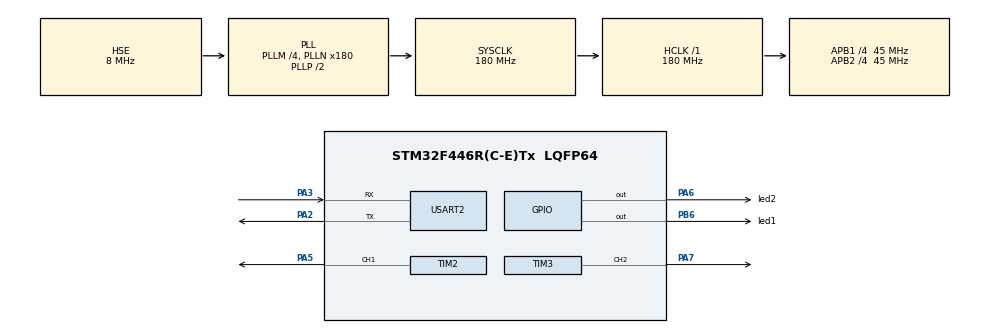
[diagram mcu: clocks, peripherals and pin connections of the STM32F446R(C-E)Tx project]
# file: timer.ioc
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Dma.Request0=USART2_RX
Dma.USART2_RX.0.Direction=DMA_PERIPH_TO_MEMORY
Dma.USART2_RX.0.FIFOMode=DMA_FIFOMODE_DISABLE
Dma.USART2_RX.0.Instance=DMA1_Stream5
Dma.USART2_RX.0.MemDataAlignment=DMA_MDATAALIGN_BYTE
Dma.USART2_RX.0.MemInc=DMA_MINC_ENABLE
Dma.USART2_RX.0.Mode=DMA_CIRCULAR
Dma.USART2_RX.0.PeriphDataAlignment=DMA_PDATAALIGN_BYTE
Dma.USART2_RX.0.PeriphInc=DMA_PINC_DISABLE
Dma.USART2_RX.0.Priority=DMA_PRIORITY_LOW
Mcu.Family=STM32F4
Mcu.Name=STM32F446R(C-E)Tx
Mcu.Package=LQFP64
NVIC.DMA1_Stream5_IRQn=true\:0\:0\:false\:true\:true\:1\:false\:true\:true
NVIC.PriorityGroup=NVIC_PRIORITYGROUP_4
NVIC.TIM1_TRG_COM_TIM11_IRQn=true\:0\:0\:false\:false\:true\:true\:true\:true
NVIC.TIM2_IRQn=true\:0\:0\:false\:true\:true\:3\:true\:true\:true
NVIC.TIM3_IRQn=true\:0\:0\:false\:true\:true\:4\:true\:true\:true
NVIC.TIM7_IRQn=true\:0\:0\:false\:true\:true\:6\:true\:true\:true
NVIC.TIM8_BRK_TIM12_IRQn=true\:0\:0\:false\:true\:true\:5\:true\:true\:true
PA13.Mode=Serial_Wire
PA13.Signal=SYS_JTMS-SWDIO
PA14.Mode=Serial_Wire
PA14.Signal=SYS_JTCK-SWCLK
PA2.Mode=Asynchronous
PA2.Signal=USART2_TX
PA3.Mode=Asynchronous
PA3.Signal=USART2_RX
PA5.Signal=S_TIM2_CH1_ETR
PA6.GPIO_Label=led2
PA6.GPIO_ModeDefaultOutputPP=GPIO_MODE_OUTPUT_PP
PA6.GPIO_PuPd=GPIO_NOPULL
PA6.GPIO_Speed=GPIO_SPEED_FREQ_HIGH
PA6.PinState=GPIO_PIN_SET
PA6.Signal=GPIO_Output
PA7.Signal=S_TIM3_CH2
PB6.GPIO_Label=led1
PB6.GPIO_ModeDefaultOutputPP=GPIO_MODE_OUTPUT_PP
PB6.GPIO_PuPd=GPIO_NOPULL
PB6.GPIO_Speed=GPIO_SPEED_FREQ_HIGH
PB6.PinState=GPIO_PIN_SET
PB6.Signal=GPIO_Output
PH0-OSC_IN.Mode=HSE-External-Oscillator
PH0-OSC_IN.Signal=RCC_OSC_IN
PH1-OSC_OUT.Mode=HSE-External-Oscillator
PH1-OSC_OUT.Signal=RCC_OSC_OUT
ProjectManager.HeapSize=0x200
ProjectManager.StackSize=0x400
ProjectManager.TargetToolchain=STM32CubeIDE
RCC.AHBFreq_Value=180000000
RCC.APB1CLKDivider=RCC_HCLK_DIV4
RCC.APB1Freq_Value=45000000
RCC.APB1TimFreq_Value=90000000
RCC.APB2CLKDivider=RCC_HCLK_DIV4
RCC.APB2Freq_Value=45000000
RCC.APB2TimFreq_Value=90000000
RCC.CortexFreq_Value=180000000
RCC.HCLKFreq_Value=180000000
RCC.HSE_VALUE=8000000
RCC.PLLM=4
RCC.PLLN=180
RCC.PLLSourceVirtual=RCC_PLLSOURCE_HSE
RCC.SYSCLKFreq_VALUE=180000000
RCC.SYSCLKSource=RCC_SYSCLKSOURCE_PLLCLK
RCC.USBFreq_Value=180000000
RCC.VCOOutputFreq_Value=360000000
SH.S_TIM2_CH1_ETR.0=TIM2_CH1,Output Compare1 CH1
SH.S_TIM3_CH2.0=TIM3_CH2,Output Compare2 CH2
TIM11.Period=7000-1
TIM11.Prescaler=9000-1
TIM12.Period=15000-1
TIM12.Prescaler=9000-1
TIM2.Channel-Output\ Compare1\ CH1=TIM_CHANNEL_1
TIM2.OC1Preload=DISABLE
TIM2.OCMode_1=TIM_OCMODE_TOGGLE
TIM2.Period=1000-1
TIM2.Prescaler=9000-1
TIM3.Channel-Output\ Compare2\ CH2=TIM_CHANNEL_2
TIM3.OCMode_2=TIM_OCMODE_FORCED_INACTIVE
TIM3.Period=5000-1
TIM3.Prescaler=9000-1
TIM7.Period=10000-1
TIM7.Prescaler=9000-1
USART2.VirtualMode=VM_ASYNC
VP_TIM11_VS_ClockSourceINT.Mode=Enable_Timer
VP_TIM12_VS_ClockSourceINT.Mode=Internal
VP_TIM2_VS_ClockSourceINT.Mode=Internal
VP_TIM3_VS_ClockSourceINT.Mode=Internal
VP_TIM7_VS_ClockSourceINT.Mode=Enable_Timer
board=custom

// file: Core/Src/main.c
/* USER CODE BEGIN Header */
/**
  ******************************************************************************
  * @file           : main.c
  * @brief          : Main program body
  ******************************************************************************
  * @attention
  *
  * Copyright (c) 2025 STMicroelectronics.
  * All rights reserved.
  *
  * This software is licensed under terms that can be found in the LICENSE file
  * in the root directory of this software component.
  * If no LICENSE file comes with this software, it is provided AS-IS.
  *
  ******************************************************************************
  */
/* USER CODE END Header */
#include "main.h"
#include "dma.h"
#include "tim.h"
#include "usart.h"
#include "gpio.h"

/* USER CODE BEGIN Includes */
// My Lib
#define F446RE 1
#include <My_ARM_GPIO_Lib_V3_8.h>

volatile uint8_t rxd_flag1 = 0;
volatile uint8_t rxd_flag2 = 0;
volatile uint8_t rx_buf1[20];
volatile uint8_t rx_buf2[20];

#define My_Uart_LIB_EN   1
#define NO_RTOS          2
//#define RTOS           2
#define Console_Ch2      3
#define USART_Ch_2_EN    4
//#define USART_Ch_1_EN    4
#define IRQ_EN_Uart_1    5
#include "My_ARM_UART_Lib_V4_8.h"

uint8_t ad_end_flag1 = 0;
uint16_t test_loop1 = 0;
uint16_t ad_buf1[20];
uint8_t ad_ch_nb1 = 6;

#define ARM_Mode  1
#define UART      2
extern int out_dev_set_mode;
#include "My_MCU_Printf_Lib_V2_6.h"

/* USER CODE END Includes */

/* USER CODE BEGIN PTD */
struct _CNT_
{
  uint16_t cnt;
  uint16_t t_loop;
  uint16_t cnt_loop;
  uint8_t  cnt_flag;
  uint8_t  sec;
  uint8_t  min;
  uint16_t dn_cnt;
}cnt = {1234, 0, 0, 0, 15, 25, 1250};
struct _CNT_ *ct = &cnt;

struct _cnt_bit_
{
  uint8_t  time_flag: 1;
  uint8_t  run_flag : 3;
  uint16_t tx_flag  : 4;
  uint8_t  tg_flag  : 2;
  uint8_t  t2_flag  : 1;
  uint8_t  t3_flag  : 1;
  uint8_t  t11_flag : 1;
  uint8_t  t12_flag : 1;
}flag = {0, 2, 10, 2, 0,0,0,0};
struct _cnt_bit_ *fg = &flag;

char d_buf[50];
uint16_t ad_buf[20];

/* USER CODE END PTD */

void SystemClock_Config(void);
static void MX_NVIC_Init(void);

/* USER CODE BEGIN 0 */
// 콜백함수
//timer CallBack Func
void HAL_TIM_PeriodElapsedCallback(TIM_HandleTypeDef *htim)
{
  if(htim -> Instance == TIM7)
  {
	// 1sec
    fg -> time_flag = (fg -> time_flag == 0) ? 1 : 0;
  }
 //--------------------------------------------------
  if(htim -> Instance == TIM3)
     {
     	// 500ms = OC
     	fg -> t3_flag = (fg -> t3_flag == 0) ? 1 : 0;
     }
  //---------------------------------------

  if(htim -> Instance == TIM11)
  {
	// 700ms
	Out_Bit_Tg(led1_GPIO_Port, led1_Pin);
	fg -> t11_flag = (fg -> t11_flag == 0) ? 1 : 0;
  }
 //-----------------------------------------------------

  if(htim -> Instance == TIM12)
   {
  	// 1.5sec
  	Out_Bit_Tg(led2_GPIO_Port, led2_Pin);
   	//fg -> t12_flag = (fg -> t12_flag == 0) ? 1 : 0;
  	fg -> t12_flag = !fg -> t12_flag;
   }
   //-----------------------------------------------------

  if(htim -> Instance == TIM2)
   {
 	// 100ms = OC
 	fg -> t2_flag = (fg -> t2_flag == 0) ? 1 : 0;
   }
}
/* USER CODE END 0 */

int main(void)
{

  /* MCU Configuration--------------------------------------------------------*/

  /* Reset of all peripherals, Initializes the Flash interface and the Systick. */
  HAL_Init();

  /* Configure the system clock */
  SystemClock_Config();

  /* Initialize all configured peripherals */
  MX_GPIO_Init();
  MX_DMA_Init();
  MX_TIM2_Init();
  MX_TIM3_Init();
  MX_TIM7_Init();
  MX_TIM12_Init();
  MX_USART2_UART_Init();
  MX_TIM11_Init();

  /* Initialize interrupts */
  MX_NVIC_Init();
  /* USER CODE BEGIN 2 */
  HAL_TIM_Base_Start_IT(&htim7); // 1sec
  // 폴링방식으로 해도 됨
  HAL_TIM_OC_Start_IT(&htim2, TIM_CHANNEL_1); // 100ms
  HAL_TIM_OC_Start_IT(&htim3, TIM_CHANNEL_2); // 500ms
  HAL_TIM_Base_Start_IT(&htim11);  // 700ms
  HAL_TIM_Base_Start_IT(&htim12);  // 1.5sec
 // HAL_TIM_Base_Start_IT(&htim1);  // 1.5sec

  /* USER CODE END 2 */

  /* Infinite loop */
  /* USER CODE BEGIN WHILE */
  while (1)
  {
//	if(fg -> t2_flag ==1)
//	{
//	  printf("time2 IRQ\r\n");
//	  //tx_str("time2 IRQ\r\n", 2);
//	  fg -> t2_flag =0;
//	}
//
//	if(fg -> t3_flag ==1)
//	{
//	  printf("time3 IRQ\r\n");
//	  //tx_str("time3 IRQ\r\n", 2);
//	  fg -> t3_flag = 0;
//	}

	if(fg -> t11_flag ==1)
	{
	  printf("time11 IRQ\r\n");
	  fg -> t11_flag =0;
	}

	if(fg -> t12_flag ==1)
	{
	  printf("time12 IRQ\r\n");
	  fg -> t12_flag  =0;
	}

	if(fg -> time_flag) // 1sec chk sum
	{
	  fg -> time_flag = 0;

	  ct -> sec++;
	  if(ct -> sec > 59) // 1min chk sum
	  {
		(*ct).sec = 0;
		cnt.min++;
		if(ct -> min > 59) // 1 hour chk sum
		{
		  (*ct).min = 0;
		  // hour++
		}
	  }

	 printf("Now Time = %d : %d\r\n", ct -> min, ct -> sec);
	}
    /* USER CODE END WHILE */

  }
}

void SystemClock_Config(void)
{
  RCC_OscInitTypeDef RCC_OscInitStruct = {0};
  RCC_ClkInitTypeDef RCC_ClkInitStruct = {0};

  /** Configure the main internal regulator output voltage
  */
  __HAL_RCC_PWR_CLK_ENABLE();
  __HAL_PWR_VOLTAGESCALING_CONFIG(PWR_REGULATOR_VOLTAGE_SCALE1);

  /** Initializes the RCC Oscillators according to the specified parameters
  * in the RCC_OscInitTypeDef structure.
  */
  RCC_OscInitStruct.OscillatorType = RCC_OSCILLATORTYPE_HSE;
  RCC_OscInitStruct.HSEState = RCC_HSE_ON;
  RCC_OscInitStruct.PLL.PLLState = RCC_PLL_ON;
  RCC_OscInitStruct.PLL.PLLSource = RCC_PLLSOURCE_HSE;
  RCC_OscInitStruct.PLL.PLLM = 4;
  RCC_OscInitStruct.PLL.PLLN = 180;
  RCC_OscInitStruct.PLL.PLLP = RCC_PLLP_DIV2;
  RCC_OscInitStruct.PLL.PLLQ = 2;
  RCC_OscInitStruct.PLL.PLLR = 2;
  if (HAL_RCC_OscConfig(&RCC_OscInitStruct) != HAL_OK)
  {
    Error_Handler();
  }

  /** Activate the Over-Drive mode
  */
  if (HAL_PWREx_EnableOverDrive() != HAL_OK)
  {
    Error_Handler();
  }

  /** Initializes the CPU, AHB and APB buses clocks
  */
  RCC_ClkInitStruct.ClockType = RCC_CLOCKTYPE_HCLK|RCC_CLOCKTYPE_SYSCLK
                              |RCC_CLOCKTYPE_PCLK1|RCC_CLOCKTYPE_PCLK2;
  RCC_ClkInitStruct.SYSCLKSource = RCC_SYSCLKSOURCE_PLLCLK;
  RCC_ClkInitStruct.AHBCLKDivider = RCC_SYSCLK_DIV1;
  RCC_ClkInitStruct.APB1CLKDivider = RCC_HCLK_DIV4;
  RCC_ClkInitStruct.APB2CLKDivider = RCC_HCLK_DIV4;

  if (HAL_RCC_ClockConfig(&RCC_ClkInitStruct, FLASH_LATENCY_5) != HAL_OK)
  {
    Error_Handler();
  }
}

/**
  * @brief NVIC Configuration.
  * @retval None
  */
static void MX_NVIC_Init(void)
{
  /* DMA1_Stream5_IRQn interrupt configuration */
  HAL_NVIC_SetPriority(DMA1_Stream5_IRQn, 0, 0);
  HAL_NVIC_EnableIRQ(DMA1_Stream5_IRQn);
  /* TIM2_IRQn interrupt configuration */
  HAL_NVIC_SetPriority(TIM2_IRQn, 0, 0);
  HAL_NVIC_EnableIRQ(TIM2_IRQn);
  /* TIM3_IRQn interrupt configuration */
  HAL_NVIC_SetPriority(TIM3_IRQn, 0, 0);
  HAL_NVIC_EnableIRQ(TIM3_IRQn);
  /* TIM8_BRK_TIM12_IRQn interrupt configuration */
  HAL_NVIC_SetPriority(TIM8_BRK_TIM12_IRQn, 0, 0);
  HAL_NVIC_EnableIRQ(TIM8_BRK_TIM12_IRQn);
  /* TIM7_IRQn interrupt configuration */
  HAL_NVIC_SetPriority(TIM7_IRQn, 0, 0);
  HAL_NVIC_EnableIRQ(TIM7_IRQn);
}

void Error_Handler(void)
{
  __disable_irq();
  while (1)
  {
  }
}
